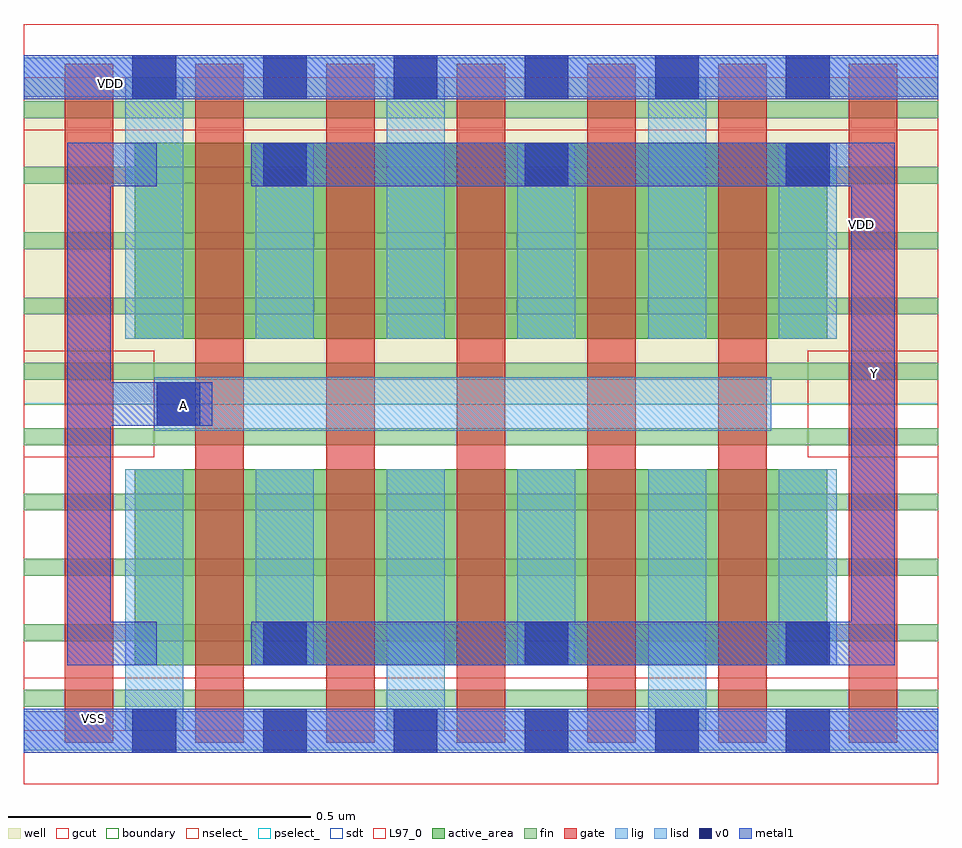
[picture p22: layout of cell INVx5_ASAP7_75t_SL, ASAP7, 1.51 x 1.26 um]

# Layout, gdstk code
import gdstk
lib = gdstk.Library(unit=1e-6, precision=2.5e-10)
def R(c, l, rs):  # rectangles x0, y0, x1, y1
    for r in rs: c.add(gdstk.rectangle(r[:2], r[2:], *l))
def A(c, l, x, y, w, h, nx, ny, dx, dy):  # array of equal rectangles
    R(c, l, [(x+i*dx, y+j*dy, x+i*dx+w, y+j*dy+h) for i in range(nx) for j in range(ny)])
def P(c, l, *ps):  # polygons
    for p in ps: c.add(gdstk.Polygon(p, *l))
well = (1, 0)
fin = (2, 0)
gate = (7, 0)
gcut = (10, 0)
active_area = (11, 0)
nselect_ = (12, 0)
pselect_ = (13, 0)
lig = (16, 0)
lisd = (17, 0)
v0 = (18, 0)
metal1 = (19, 0)
sdt = (88, 0)
L97_0 = (97, 0)
boundary = (100, 0)

invx5_asap7_75t_sl = lib.new_cell('INVx5_ASAP7_75t_SL')
R(invx5_asap7_75t_sl, well, [(0,0.54,1.512,1.08)])
A(invx5_asap7_75t_sl, fin, 0, 0.04, 1.512, 0.028, 1, 10, 0, 0.108)
A(invx5_asap7_75t_sl, gate, 0.068, -0.02, 0.08, 1.122, 7, 1, 0.216, 0)
R(invx5_asap7_75t_sl, gcut, [(0,-0.088,1.512,0.088), (0,0.452,0.216,0.628), (1.296,0.452,1.512,0.628), (0,0.992,1.512,1.168)])
R(invx5_asap7_75t_sl, active_area, [(0.184,0.108,1.328,0.432), (0.184,0.648,1.328,0.972)])
R(invx5_asap7_75t_sl, nselect_, [(0,0,1.512,0.54)])
R(invx5_asap7_75t_sl, pselect_, [(0,0.54,1.512,1.08)])
R(invx5_asap7_75t_sl, lig, [(0,-0.032,1.512,0.032), (0.216,0.496,1.236,0.584), (0,1.048,1.512,1.112)])
A(invx5_asap7_75t_sl, lisd, 0.168, 0, 0.096, 0.432, 3, 2, 0.432, 0.648)
A(invx5_asap7_75t_sl, lisd, 0.384, 0.108, 0.096, 0.324, 3, 2, 0.432, 0.54)
A(invx5_asap7_75t_sl, v0, 0.18, -0.036, 0.072, 0.072, 6, 2, 0.216, 1.08)
A(invx5_asap7_75t_sl, v0, 0.396, 0.108, 0.072, 0.072, 3, 2, 0.432, 0.792)
R(invx5_asap7_75t_sl, v0, [(0.22,0.504,0.292,0.576)])
R(invx5_asap7_75t_sl, metal1, [(0,-0.036,1.512,0.036), (0,1.044,1.512,1.116)])
P(invx5_asap7_75t_sl, metal1, [(0.312,0.576),(0.144,0.576),(0.144,0.9),(0.22,0.9),(0.22,0.972),(0.072,0.972),(0.072,0.108),(0.22,0.108),(0.22,0.18),(0.144,0.18),(0.144,0.504),(0.312,0.504)],
  [(1.44,0.972),(0.376,0.972),(0.376,0.9),(1.368,0.9),(1.368,0.18),(0.376,0.18),(0.376,0.108),(1.44,0.108)])
A(invx5_asap7_75t_sl, sdt, 0.168, 0.108, 0.096, 0.324, 6, 2, 0.216, 0.54)
R(invx5_asap7_75t_sl, L97_0, [(0,0,1.512,1.08)])
R(invx5_asap7_75t_sl, boundary, [(0,0,1.512,1.08)])
invx5_asap7_75t_sl.add(gdstk.Label('VSS', (0.116,0.02), layer=19, texttype=251))
invx5_asap7_75t_sl.add(gdstk.Label('VDD', (0.144,1.07), layer=19, texttype=251))
invx5_asap7_75t_sl.add(gdstk.Label('A', (0.264,0.538), layer=19, texttype=251))
invx5_asap7_75t_sl.add(gdstk.Label('Y', (1.406,0.59), layer=19, texttype=251))
invx5_asap7_75t_sl.add(gdstk.Label('VDD', (1.384,0.836), layer=1, texttype=251))
invx5_asap7_75t_sl.add(gdstk.Label('VSS', (1.66,0.832), layer=3, texttype=251))

lib.write_gds('INVx5_ASAP7_75t_SL.gds')
